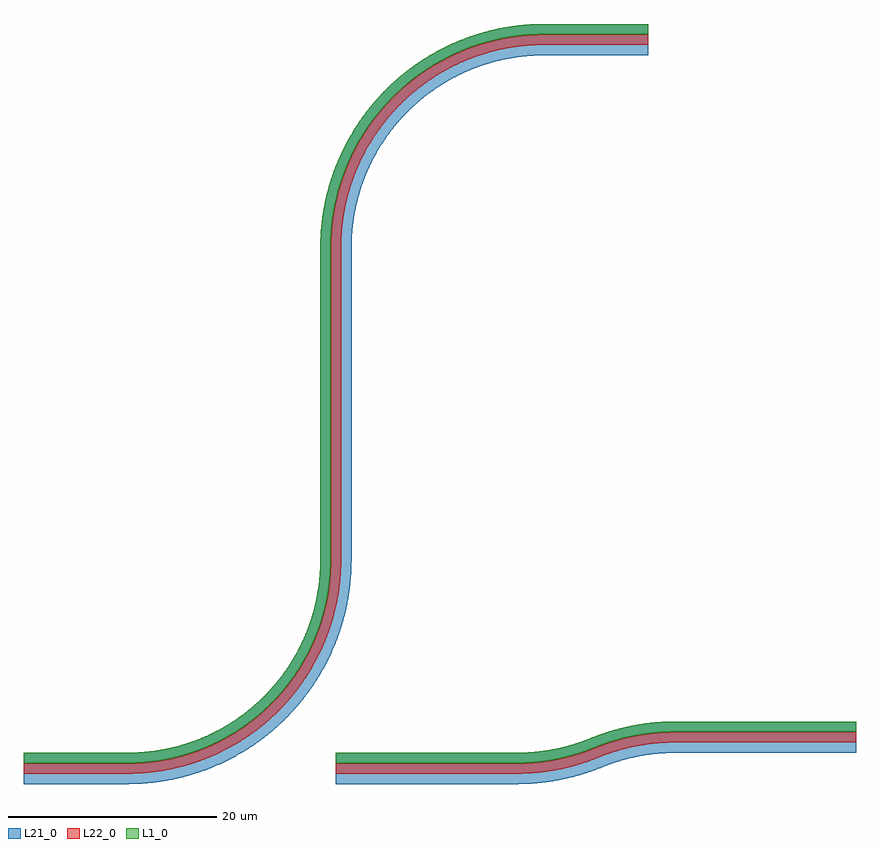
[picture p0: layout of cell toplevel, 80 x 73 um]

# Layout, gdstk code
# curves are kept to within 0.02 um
from math import pi, radians
import gdstk
lib = gdstk.Library(unit=1e-6, precision=1e-09)
def R(c, l, rs):  # rectangles x0, y0, x1, y1
    for r in rs: c.add(gdstk.rectangle(r[:2], r[2:], *l))
def P(c, l, *ps):  # polygons
    for p in ps: c.add(gdstk.Polygon(p, *l))
L1_0 = (1, 0)
L21_0 = (21, 0)
L22_0 = (22, 0)

wg_straight003 = lib.new_cell('WG straight003')
R(wg_straight003, L1_0, [(0,0.5,10,1.5)])
R(wg_straight003, L21_0, [(0,-1.5,10,1.5)])
R(wg_straight003, L22_0, [(0,-0.5,10,0.5)])

wg_bend = lib.new_cell('WG bend')
P(wg_bend, L1_0, [(0,1.5),(1.664,1.575),(2.491,1.668),(3.496,1.833),(4.49,2.053),(5.293,2.273),(6.865,2.821),(7.632,3.147),(8.465,3.55),(9.277,3.994),(9.988,4.428),(10.678,4.893),(11.421,5.446),(12.134,6.035),(12.75,6.595),(13.904,7.796),(14.89,9.021),(15.769,10.326),(16.534,11.7),(17.002,12.707),(17.409,13.74),(17.727,14.707),(17.991,15.69),(18.201,16.686),(18.378,17.876),(18.467,18.89),(18.5,20),(19.5,20),(19.476,19.025),(19.412,18.149),(19.281,17.084),(19.111,16.124),(18.869,15.079),(18.57,14.048),(18.249,13.127),(17.921,12.313),(17.514,11.426),(17.016,10.476),(16.519,9.637),(15.98,8.824),(15.341,7.962),(14.72,7.21),(14.062,6.49),(13.369,5.804),(12.568,5.09),(11.728,4.421),(10.935,3.854),(9.946,3.227),(9.009,2.706),(8.044,2.236),(7.146,1.856),(5.952,1.43),(4.638,1.059),(3.108,0.749),(1.559,0.562),(0,0.5)])
P(wg_bend, L21_0, [(0,1.5),(1.664,1.575),(3.314,1.799),(4.848,2.146),(6.434,2.655),(7.884,3.264),(9.277,3.994),(10.603,4.84),(11.348,5.389),(11.994,5.914),(12.75,6.595),(13.405,7.25),(14.086,8.006),(14.78,8.873),(15.318,9.626),(15.865,10.484),(16.321,11.289),(16.853,12.368),(17.247,13.307),(17.531,14.09),(17.854,15.152),(18.074,16.051),(18.278,17.143),(18.398,18.06),(18.477,19.075),(18.5,20),(21.5,20),(21.455,18.603),(21.358,17.532),(21.19,16.361),(20.958,15.201),(20.662,14.055),(20.339,13.03),(19.965,12.021),(19.496,10.935),(18.968,9.877),(18.438,8.941),(17.802,7.944),(17.112,6.983),(16.37,6.061),(15.652,5.26),(14.896,4.496),(13.939,3.63),(12.759,2.695),(11.607,1.902),(10.407,1.186),(8.967,0.459),(7.778,-0.044),(6.357,-0.539),(4.799,-0.958),(3.321,-1.242),(1.719,-1.431),(0,-1.5)])
P(wg_bend, L22_0, [(0,0.5),(0.975,0.524),(1.851,0.588),(2.722,0.691),(3.685,0.851),(4.638,1.059),(5.485,1.287),(6.322,1.553),(7.236,1.892),(8.044,2.236),(8.922,2.661),(9.694,3.08),(10.528,3.586),(11.256,4.076),(12.038,4.659),(12.79,5.28),(13.51,5.938),(14.72,7.21),(15.753,8.507),(16.723,9.97),(17.471,11.339),(17.921,12.313),(18.317,13.31),(18.685,14.421),(18.986,15.552),(19.185,16.507),(19.36,17.664),(19.465,18.83),(19.5,20),(20.5,20),(20.469,18.872),(20.387,17.85),(20.27,16.935),(20.091,15.925),(19.862,14.926),(19.553,13.841),(19.185,12.775),(18.84,11.919),(18.367,10.895),(17.939,10.077),(17.474,9.28),(16.858,8.335),(16.191,7.426),(15.542,6.632),(14.854,5.871),(14.129,5.146),(13.212,4.325),(12.412,3.684),(11.496,3.026),(10.457,2.367),(9.471,1.819),(8.55,1.368),(7.512,0.926),(6.452,0.542),(4.875,0.088),(3.268,-0.238),(1.741,-0.426),(0.103,-0.5),(0,-0.5)])

wg_straight = lib.new_cell('WG straight')
R(wg_straight, L1_0, [(0,0.5,30,1.5)])
R(wg_straight, L21_0, [(0,-1.5,30,1.5)])
R(wg_straight, L22_0, [(0,-0.5,30,0.5)])

wg_bend002 = lib.new_cell('WG bend002')
P(wg_bend002, L1_0, [(0,0.5),(0.82,0.484),(1.843,0.417),(2.964,0.285),(3.874,0.131),(4.875,-0.088),(5.767,-0.328),(6.646,-0.607),(7.608,-0.964),(8.363,-1.283),(9.289,-1.725),(10.191,-2.212),(11.067,-2.744),(11.833,-3.26),(12.655,-3.872),(13.446,-4.525),(14.129,-5.146),(14.854,-5.871),(15.475,-6.554),(16.561,-7.917),(17.474,-9.28),(17.939,-10.077),(18.367,-10.895),(18.84,-11.919),(19.291,-13.064),(19.614,-14.037),(19.96,-15.324),(20.187,-16.429),(20.376,-17.748),(20.469,-18.872),(20.5,-20),(21.5,-20),(21.473,-18.925),(21.403,-17.96),(21.274,-16.892),(21.071,-15.726),(20.831,-14.678),(20.539,-13.643),(20.232,-12.725),(19.801,-11.623),(19.31,-10.547),(18.814,-9.593),(18.213,-8.574),(17.68,-7.766),(17.046,-6.897),(16.37,-6.061),(15.652,-5.26),(14.896,-4.496),(13.939,-3.63),(13.103,-2.954),(12.234,-2.32),(11.243,-1.674),(10.218,-1.083),(9.065,-0.504),(7.979,-0.035),(6.97,0.339),(5.322,0.831),(3.639,1.19),(2.04,1.403),(0.43,1.496),(0,1.5)])
P(wg_bend002, L21_0, [(0,-1.5),(1.664,-1.575),(3.314,-1.799),(4.848,-2.146),(6.434,-2.655),(7.884,-3.264),(9.277,-3.994),(10.603,-4.84),(11.348,-5.389),(11.994,-5.914),(12.75,-6.595),(13.405,-7.25),(14.086,-8.006),(14.78,-8.873),(15.318,-9.626),(15.865,-10.484),(16.321,-11.289),(16.853,-12.368),(17.247,-13.307),(17.531,-14.09),(17.854,-15.152),(18.074,-16.051),(18.278,-17.143),(18.398,-18.06),(18.477,-19.075),(18.5,-20),(21.5,-20),(21.455,-18.603),(21.358,-17.532),(21.19,-16.361),(20.958,-15.201),(20.662,-14.055),(20.339,-13.03),(19.965,-12.021),(19.496,-10.935),(18.968,-9.877),(18.438,-8.941),(17.802,-7.944),(17.112,-6.983),(16.37,-6.061),(15.652,-5.26),(14.896,-4.496),(13.939,-3.63),(12.759,-2.695),(11.607,-1.902),(10.407,-1.186),(8.967,-0.459),(7.778,0.044),(6.357,0.539),(4.799,0.958),(3.321,1.242),(1.719,1.431),(0,1.5)])
P(wg_bend002, L22_0, [(0,-0.5),(0.975,-0.524),(1.851,-0.588),(2.722,-0.691),(3.685,-0.851),(4.638,-1.059),(5.485,-1.287),(6.322,-1.553),(7.236,-1.892),(8.044,-2.236),(8.922,-2.661),(9.694,-3.08),(10.528,-3.586),(11.256,-4.076),(12.038,-4.659),(12.79,-5.28),(13.51,-5.938),(14.72,-7.21),(15.753,-8.507),(16.723,-9.97),(17.471,-11.339),(17.921,-12.313),(18.317,-13.31),(18.685,-14.421),(18.986,-15.552),(19.185,-16.507),(19.36,-17.664),(19.465,-18.83),(19.5,-20),(20.5,-20),(20.469,-18.872),(20.387,-17.85),(20.27,-16.935),(20.091,-15.925),(19.862,-14.926),(19.553,-13.841),(19.185,-12.775),(18.84,-11.919),(18.367,-10.895),(17.939,-10.077),(17.474,-9.28),(16.858,-8.335),(16.191,-7.426),(15.542,-6.632),(14.854,-5.871),(14.129,-5.146),(13.212,-4.325),(12.412,-3.684),(11.496,-3.026),(10.457,-2.367),(9.471,-1.819),(8.55,-1.368),(7.512,-0.926),(6.452,-0.542),(4.875,-0.088),(3.268,0.238),(1.741,0.426),(0.103,0.5),(0,0.5)])

unnamed = lib.new_cell('Unnamed')
unnamed.add(gdstk.Reference(wg_straight003, (30,0)))
unnamed.add(gdstk.Reference(wg_bend, (40,0)))
unnamed.add(gdstk.Reference(wg_straight, (60,20), rotation=pi/2))
unnamed.add(gdstk.Reference(wg_bend002, (60,50), rotation=pi/2))
unnamed.add(gdstk.Reference(wg_straight003, (80,70)))

wg_straight007 = lib.new_cell('WG straight007')
R(wg_straight007, L1_0, [(0,0.5,17.401,1.5)])
R(wg_straight007, L21_0, [(0,-1.5,17.401,1.5)])
R(wg_straight007, L22_0, [(0,-0.5,17.401,0.5)])

wg_bend005 = lib.new_cell('WG bend005')
P(wg_bend005, L1_0, [(0,1.5),(0.843,1.519),(1.776,1.585),(2.706,1.699),(3.537,1.841),(5.174,2.238),(5.978,2.492),(7.029,2.887),(7.409,1.962),(6.02,1.452),(4.5,1.026),(2.95,0.724),(1.282,0.542),(0,0.5)])
P(wg_bend005, L21_0, [(0,1.5),(0.843,1.519),(1.776,1.585),(2.706,1.699),(3.537,1.841),(5.174,2.238),(5.978,2.492),(7.029,2.887),(8.169,0.113),(7.255,-0.239),(6.222,-0.58),(5.173,-0.869),(4.217,-1.082),(3.145,-1.269),(2.065,-1.401),(0.979,-1.478),(0,-1.5)])
P(wg_bend005, L22_0, [(0,0.5),(0.888,0.52),(1.873,0.59),(2.95,0.724),(3.825,0.879),(4.596,1.049),(5.643,1.334),(6.673,1.677),(7.409,1.962),(7.789,1.037),(6.23,0.469),(4.73,0.053),(2.998,-0.28),(1.452,-0.449),(0,-0.5)])

wg_straight004 = lib.new_cell('WG straight004')
P(wg_straight004, L1_0, [(0,1.5),(0,0.5),(0,0.5),(0,1.5)])
P(wg_straight004, L21_0, [(0,1.5),(0,-1.5),(0,-1.5),(0,1.5)])
P(wg_straight004, L22_0, [(0,0.5),(0,-0.5),(0,-0.5),(0,0.5)])

wg_bend006 = lib.new_cell('WG bend006')
P(wg_bend006, L1_0, [(0,0.5),(1.037,0.474),(2.072,0.395),(2.998,0.28),(4.021,0.102),(5.033,-0.127),(6.032,-0.407),(6.918,-0.702),(7.789,-1.037),(8.169,-0.113),(6.637,0.45),(4.961,0.92),(3.36,1.236),(1.739,1.43),(0,1.5)])
P(wg_bend006, L21_0, [(0,-1.5),(0.843,-1.519),(1.776,-1.585),(2.706,-1.699),(3.537,-1.841),(5.174,-2.238),(5.978,-2.492),(7.029,-2.887),(8.169,-0.113),(7.255,0.239),(6.222,0.58),(5.173,0.869),(4.217,1.082),(3.145,1.269),(2.065,1.401),(0.979,1.478),(0,1.5)])
P(wg_bend006, L22_0, [(0,-0.5),(0.888,-0.52),(1.873,-0.59),(2.95,-0.724),(3.825,-0.879),(4.596,-1.049),(5.643,-1.334),(6.673,-1.677),(7.409,-1.962),(7.789,-1.037),(6.23,-0.469),(4.73,-0.053),(2.998,0.28),(1.452,0.449),(0,0.5)])

unnamed008 = lib.new_cell('Unnamed008')
unnamed008.add(gdstk.Reference(wg_straight007, (60,0)))
unnamed008.add(gdstk.Reference(wg_bend005, (77.401,0)))
unnamed008.add(gdstk.Reference(wg_straight004, (85,1.5), rotation=radians(22.3316)))
unnamed008.add(gdstk.Reference(wg_bend006, (85,1.5), rotation=radians(22.3316)))
unnamed008.add(gdstk.Reference(wg_straight007, (92.599,3)))

toplevel = lib.new_cell('toplevel')
toplevel.add(gdstk.Reference(unnamed, (0,0)))
toplevel.add(gdstk.Reference(unnamed008, (0,0)))

lib.write_gds('toplevel.gds')
